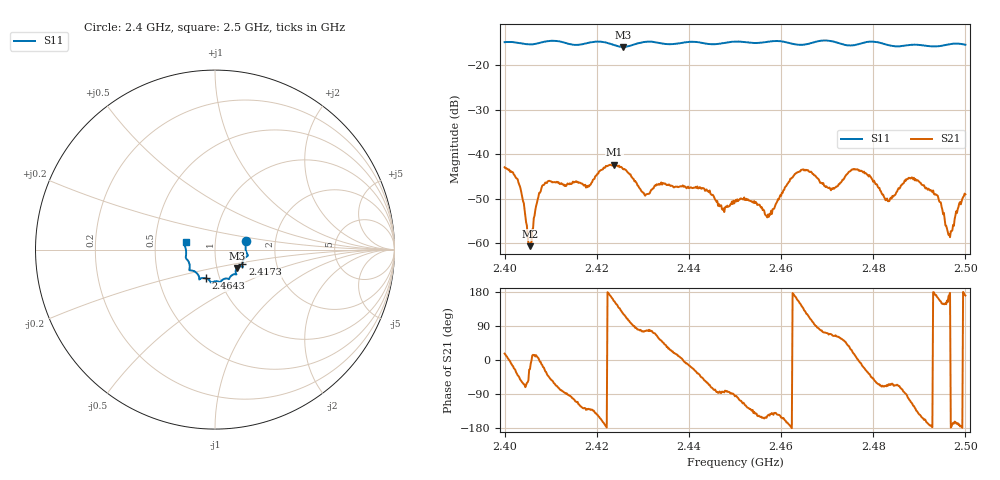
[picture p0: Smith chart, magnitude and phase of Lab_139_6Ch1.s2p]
# Hz S RI R 50
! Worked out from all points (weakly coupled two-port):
!   601 points, 2.4 GHz to 2.5 GHz, reference 50 ohm
!   highest |S21| = -42.37 dB at 2.4238 GHz (marker M1); lowest = -60.6 dB at 2.4055 GHz (marker M2)
!   lowest |S11| = -15.9 dB at 2.4257 GHz (marker M3), VSWR 1.38, Z = 62.4 - j13.1 ohm
!   |S11| at or under -10 dB: start of sweep to end of sweep
!   S12 and S22 are empty: the file has one direction only
!   S11 on the Smith chart (normalised r, x): 2.4 GHz: 1.41, +0.14; 2.4173 GHz: 1.34, -0.23; 2.4643 GHz: 0.86, -0.28; 2.5 GHz: 0.72, +0.06
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2.4e9  0.1733 0.0496  0.00683 0.00208  0 0  0 0
2.403167e9  0.1734 0.0334  0.00321 -0.00324  0 0  0 0
2.4055e9  0.17 0.00721  0.000849 -0.000384  0 0  0 0
2.4085e9  0.1801 -0.025  0.00425 -0.00153  0 0  0 0
2.416667e9  0.1529 -0.0745  -0.00262 -0.0039  0 0  0 0
2.417333e9  0.1524 -0.0819  -0.00266 -0.0036  0 0  0 0
2.423833e9  0.1378 -0.094  -0.00689 0.00324  0 0  0 0
2.425667e9  0.1225 -0.1022  -0.00379 0.00568  0 0  0 0
2.430333e9  0.1188 -0.1369  0.000881 0.00342  0 0  0 0
2.433333e9  0.113 -0.137  0.00236 0.0039  0 0  0 0
2.447667e9  0.0368 -0.1727  0.000176 -0.00224  0 0  0 0
2.45e9  0.0296 -0.1808  -0.000299 -0.00293  0 0  0 0
2.457167e9  -0.0148 -0.1817  -0.00175 -0.00119  0 0  0 0
2.464333e9  -0.0505 -0.1604  -0.00545 0.00384  0 0  0 0
2.466667e9  -0.0763 -0.1596  -0.00148 0.00604  0 0  0 0
2.471167e9  -0.087 -0.162  0.00176 0.0037  0 0  0 0
2.477e9  -0.1269 -0.1168  0.00658 -0.000506  0 0  0 0
2.483333e9  -0.1408 -0.0894  0.00131 -0.00267  0 0  0 0
2.489333e9  -0.1627 -0.0448  -0.00349 -0.00365  0 0  0 0
2.494167e9  -0.1622 0.000783  -0.00301 0.00101  0 0  0 0
2.496667e9  -0.1695 0.0246  -0.00117 5.74e-05  0 0  0 0
2.5e9  -0.1635 0.0419  -0.0035 0.000607  0 0  0 0
